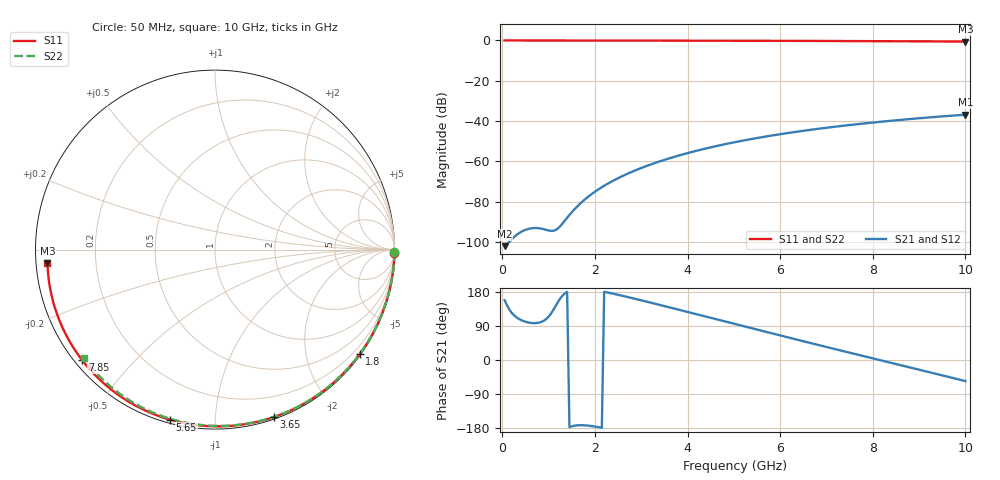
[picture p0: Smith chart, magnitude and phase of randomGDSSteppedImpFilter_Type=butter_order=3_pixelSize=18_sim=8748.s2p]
! freq	dB(S11)	phase(S11)	dB(S12)	phase(S12)
!  dB(S21)	phase(S21)	dB(S22)	phase(S22)
!S-par simulation data
#  GHz  S  DB  R 50
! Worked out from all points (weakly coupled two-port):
!   200 points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, 50 MHz to 10 GHz, reference 50 ohm
!   highest |S21| = -36.87 dB at 10 GHz (marker M1); lowest = -102.1 dB at 50 MHz (marker M2)
!   lowest |S11| = -0.6 dB at 10 GHz (marker M3), VSWR 30.59, Z = 1.64 - j2.05 ohm
!   |S11| at or under -10 dB: nowhere
!   |S22| runs from -0.5 to 0.0 dB; largest |S21 - S12| = 0
!   S11 on the Smith chart (normalised r, x): 50 MHz: open; 1.8 GHz: 0.03, -3.09; 3.65 GHz: 0.02, -1.41; 5.65 GHz: 0.02, -0.77; 7.85 GHz: 0.02, -0.36; 10 GHz: 0.03, -0.04
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0.05  -0.00 -1.0  -102.14 157.8  -102.14 157.8  -0.00 -0.8
0.45  -0.01 -9.1  -94.51 103.1  -94.51 103.1  -0.01 -7.3
0.85  -0.02 -17.2  -93.46 100.8  -93.46 100.8  -0.02 -13.7
1.25  -0.03 -25.1  -92.24 162.2  -92.24 162.2  -0.03 -20.1
1.7  -0.04 -33.9  -80.61 -172.1  -80.61 -172.1  -0.03 -27.2
1.75  -0.04 -34.9  -79.58 -172.2  -79.58 -172.2  -0.04 -28.0
1.8  -0.05 -35.9  -78.61 -172.6  -78.61 -172.6  -0.04 -28.8
2.1  -0.05 -41.7  -73.58 -177.7  -73.58 -177.7  -0.04 -33.5
2.5  -0.06 -49.3  -68.38 172.1  -68.38 172.1  -0.05 -39.7
2.9  -0.07 -56.8  -64.24 160.6  -64.24 160.6  -0.06 -45.8
3.4  -0.09 -66.0  -60.03 145.4  -60.03 145.4  -0.07 -53.3
3.65  -0.09 -70.5  -58.22 137.7  -58.22 137.7  -0.08 -57.0
4.35  -0.12 -82.9  -53.89 115.9  -53.89 115.9  -0.10 -67.1
5.05  -0.15 -94.9  -50.37 94.1  -50.37 94.1  -0.12 -77.0
5.65  -0.17 -104.8  -47.85 75.5  -47.85 75.5  -0.14 -85.2
6.15  -0.20 -113.0  -46.01 60.1  -46.01 60.1  -0.16 -91.9
6.7  -0.24 -121.9  -44.23 43.4  -44.23 43.4  -0.19 -99.1
7.3  -0.28 -131.4  -42.51 25.3  -42.51 25.3  -0.23 -106.8
7.85  -0.33 -140.2  -41.12 8.9  -41.12 8.9  -0.27 -113.7
8.35  -0.37 -148.1  -39.96 -6.0  -39.96 -6.0  -0.31 -120.0
9.2  -0.47 -161.9  -38.23 -31.3  -38.23 -31.3  -0.38 -130.5
10  -0.57 -175.3  -36.87 -55.7  -36.87 -55.7  -0.47 -140.4
